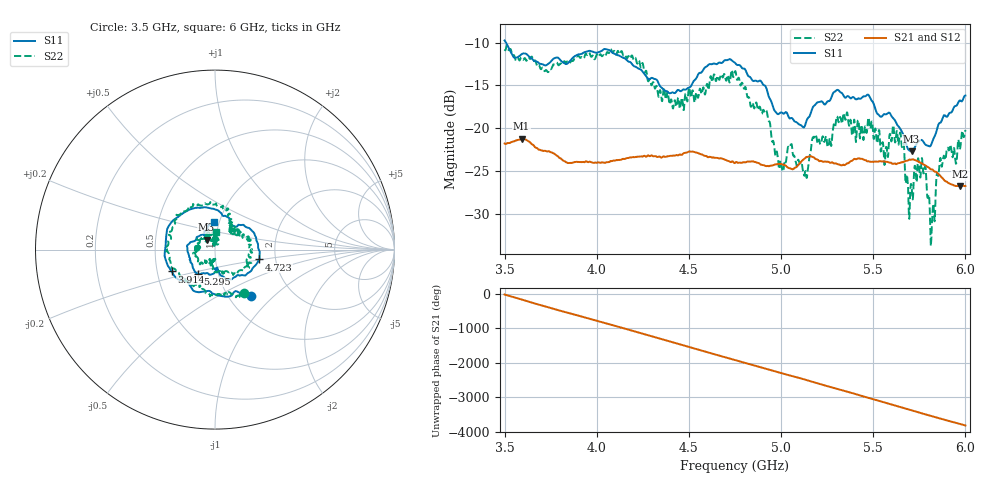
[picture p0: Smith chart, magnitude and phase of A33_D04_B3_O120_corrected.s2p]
! Created with skrf 1.9.0 (http://scikit-rf.org).
# Hz S RI R 50.0
!freq ReS11 ImS11 ReS21 ImS21 ReS12 ImS12 ReS22 ImS22
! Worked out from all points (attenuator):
!   1601 points, 3.5 GHz to 6 GHz, reference 50 ohm
!   highest |S21| = -21.22 dB at 3.592 GHz (marker M1); lowest = -26.8 dB at 5.972 GHz (marker M2)
!   lowest |S11| = -22.7 dB at 5.708 GHz (marker M3), VSWR 1.16, Z = 45.2 + j5.09 ohm
!   |S11| at or under -10 dB: 3.508 GHz to end of sweep
!   |S22| runs from -33.7 to -10.3 dB; largest |S21 - S12| = 0.001
!   S11 on the Smith chart (normalised r, x): 3.5 GHz: 1.26, -0.73; 3.914 GHz: 0.59, -0.16; 4.723 GHz: 1.64, -0.19; 5.295 GHz: 0.80, -0.22; 6 GHz: 0.94, +0.30
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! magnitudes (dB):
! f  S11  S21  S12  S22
! 3.5 GHz  -9.8  -21.8  -21.7  -10.8
! 3.592 GHz  -11.4  -21.2  -21.2  -11.8
! 3.914 GHz  -11.3  -23.9  -23.9  -11.7
! 3.917 GHz  -11.3  -23.9  -23.9  -11.7
! 4.198 GHz  -12.7  -23.4  -23.3  -11.9
! 4.334 GHz  -14.7  -23.3  -23.2  -16.3
! 4.723 GHz  -11.9  -23.9  -23.8  -14.4
! 4.75 GHz  -12.4  -24.0  -24.0  -13.4
! 4.917 GHz  -15.2  -24.4  -24.3  -18.0
! 5 GHz  -18.2  -24.2  -24.1  -23.9
! 5.048 GHz  -18.8  -24.7  -24.6  -22.1
! 5.133 GHz  -19.5  -23.4  -23.4  -25.0
! 5.167 GHz  -17.8  -23.3  -23.3  -21.5
! 5.295 GHz  -15.7  -24.1  -24.0  -19.6
! 5.584 GHz  -18.2  -24.0  -23.9  -21.9
! 5.655 GHz  -20.4  -24.0  -23.9  -22.1
! 5.708 GHz  -22.7  -23.6  -23.6  -26.7
! 5.773 GHz  -21.6  -24.2  -24.1  -25.3
! 5.822 GHz  -21.5  -24.8  -24.7  -29.7
! 5.856 GHz  -19.5  -25.4  -25.3  -25.0
! 5.972 GHz  -16.8  -26.8  -26.7  -22.3
! 6 GHz  -16.2  -26.7  -26.6  -20.2
